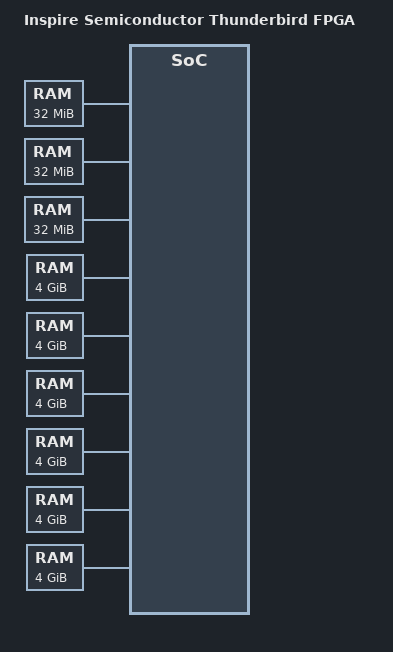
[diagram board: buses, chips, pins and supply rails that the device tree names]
/dts-v1/;

/ {
	#address-cells = <0x02>;
	#size-cells = <0x02>;
	compatible = "inspire,thunderbird-fpga", "inspire,thunderbird";
	model = "Inspire Semiconductor Thunderbird FPGA";

	aliases {
		serial0 = &usart0;
	};

 	chosen {
		bootargs = "debug console=ttyS0,3000000 earlycon=uart,mmio,0x70010100 rodata=off no5lvl root=ram";
		linux,initrd-start = <0x1100 0x08200000>;
		linux,initrd-end = <0x1100 0x132b35b6>;
		rng-seed = <0x4fe9397d 0xb7883060 0xe56ff3c2 0xb05b4e3 0x62e5479c 0xd932a9c8 0x95a47b5b 0x192ef245>;
		stdout-path = "serial0";
	};

	sram0: memory@0 {
		device_type = "memory";
		reg = <0x00000000 0x00000000 0x00000000 0x02000000>;
		numa-node-id = <1>;
	};

	sram2: memory@4000000 {
		device_type = "memory";
		reg = <0x00000000 0x04000000 0x00000000 0x02000000>;
		numa-node-id = <1>;
	};

	sram4: memory@8000000 {
		device_type = "memory";
		reg = <0x00000000 0x08000000 0x00000000 0x02000000>;
		numa-node-id = <1>;
	};

	ddrwt: memory@110000000000 {
		device_type = "memory";
		reg = <0x00001100 0x00000000 0x00000001 0x00000000>;
		numa-node-id = <0>;
	};

	ddrwm: memory@10110000000000 {
		device_type = "memory";
		reg = <0x00101100 0x00000000 0x00000001 0x00000000>;
		numa-node-id = <0>;
	};

	ddrwb: memory@20110000000000 {
		device_type = "memory";
		reg = <0x00201100 0x00000000 0x00000001 0x00000000>;
		numa-node-id = <0>;
	};

	ddret: memory@3910000000000 {
		device_type = "memory";
		reg = <0x00039100 0x00000000 0x00000001 0x00000000>;
		numa-node-id = <0>;
	};

	ddrem: memory@13910000000000 {
		device_type = "memory";
		reg = <0x00139100 0x00000000 0x00000001 0x00000000>;
		numa-node-id = <0>;
	};

	ddreb: memory@23910000000000 {
		device_type = "memory";
		reg = <0x00239100 0x00000000 0x00000001 0x00000000>;
		numa-node-id = <0>;
	};

	reserved-memory {
		#address-cells = <2>;
		#size-cells = <2>;
		ranges;

		ivshmem_shm: shm@8200000000000000 {
			compatible = "inspire,ivshmem-shm";
			reg = <0x00820000 0x00000000 0x00000000 0x00400000>;
			/* Optional heap offset for Zephyr to start k_heap */
			inspire,heap-offset = <0x00010000>;
			no-map;
		};
	};

	cpus {
		#address-cells = <0x01>;
		#size-cells = <0x00>;
		timebase-frequency = <500000000>;

		cpu0: cpu@0 {
			device_type = "cpu";
			reg-names = "cpuid", "sram", "corereg";
			reg = <0x0000 0x00000000 0x20000000>;
			status = "disabled";
			compatible = "inspiresemi,riscv-2464", "riscv";
			riscv,isa = "rv64imafdc";
			riscv,isa-base = "rv64i";
			riscv,isa-extensions = "i", "m", "a", "f", "d", "c", "zicsr", "zifencei" ;
			mmu-type = "riscv,sv48";
			numa-node-id = <1>;
			#address-cells = <0x02>;
			#size-cells = <0x02>;
			cpu0_intc: interrupt-controller {
				#interrupt-cells = <0x01>;
				interrupt-controller;
				status = "disabled";
				compatible = "riscv,cpu-intc";
			};
			clint0: clint@20004000 {
				interrupts-extended = <&cpu0_intc 0x03 &cpu0_intc 0x07>;
				reg-names = "irqs", "mtime", "mtimecmp";
				reg = <0x00 0x20004000 0x00 0x8 0x00 0x2000fff8 0x00 0x8 0x00 0x20008000 0x00 0x8>;
				status = "disabled";
				compatible = "riscv,aclint-mswi", "riscv,aclint-mtimer";
			};
		};
		cpu1: cpu@1 {
			device_type = "cpu";
			reg-names = "cpuid", "sram", "corereg";
			reg = <0x0001 0x00010000 0x20010000>;
			status = "disabled";
			compatible = "inspiresemi,riscv-2464", "riscv";
			riscv,isa = "rv64imafdc";
			riscv,isa-base = "rv64i";
			riscv,isa-extensions = "i", "m", "a", "f", "d", "c", "zicsr", "zifencei" ;
			mmu-type = "riscv,sv48";
			numa-node-id = <1>;
			#address-cells = <0x02>;
			#size-cells = <0x02>;
			cpu1_intc: interrupt-controller {
				#interrupt-cells = <0x01>;
				interrupt-controller;
				status = "disabled";
				compatible = "riscv,cpu-intc";
			};
			clint1: clint@20014000 {
				interrupts-extended = <&cpu1_intc 0x03 &cpu1_intc 0x07>;
				reg-names = "irqs", "mtime", "mtimecmp";
				reg = <0x00 0x20014000 0x00 0x8 0x00 0x2001fff8 0x00 0x8 0x00 0x20018000 0x00 0x8>;
				status = "disabled";
				compatible = "riscv,aclint-mswi", "riscv,aclint-mtimer";
			};
		};
		cpu2: cpu@2 {
			device_type = "cpu";
			reg-names = "cpuid", "sram", "corereg";
			reg = <0x0002 0x00020000 0x20020000>;
			status = "disabled";
			compatible = "inspiresemi,riscv-2464", "riscv";
			riscv,isa = "rv64imafdc";
			riscv,isa-base = "rv64i";
			riscv,isa-extensions = "i", "m", "a", "f", "d", "c", "zicsr", "zifencei" ;
			mmu-type = "riscv,sv48";
			numa-node-id = <1>;
			#address-cells = <0x02>;
			#size-cells = <0x02>;
			cpu2_intc: interrupt-controller {
				#interrupt-cells = <0x01>;
				interrupt-controller;
				status = "disabled";
				compatible = "riscv,cpu-intc";
			};
			clint2: clint@20024000 {
				interrupts-extended = <&cpu2_intc 0x03 &cpu2_intc 0x07>;
				reg-names = "irqs", "mtime", "mtimecmp";
				reg = <0x00 0x20024000 0x00 0x8 0x00 0x2002fff8 0x00 0x8 0x00 0x20028000 0x00 0x8>;
				status = "disabled";
				compatible = "riscv,aclint-mswi", "riscv,aclint-mtimer";
			};
		};
		cpu3: cpu@3 {
			device_type = "cpu";
			reg-names = "cpuid", "sram", "corereg";
			reg = <0x0003 0x00030000 0x20030000>;
			status = "disabled";
			compatible = "inspiresemi,riscv-2464", "riscv";
			riscv,isa = "rv64imafdc";
			riscv,isa-base = "rv64i";
			riscv,isa-extensions = "i", "m", "a", "f", "d", "c", "zicsr", "zifencei" ;
			mmu-type = "riscv,sv48";
			numa-node-id = <1>;
			#address-cells = <0x02>;
			#size-cells = <0x02>;
			cpu3_intc: interrupt-controller {
				#interrupt-cells = <0x01>;
				interrupt-controller;
				status = "disabled";
				compatible = "riscv,cpu-intc";
			};
			clint3: clint@20034000 {
				interrupts-extended = <&cpu3_intc 0x03 &cpu3_intc 0x07>;
				reg-names = "irqs", "mtime", "mtimecmp";
				reg = <0x00 0x20034000 0x00 0x8 0x00 0x2003fff8 0x00 0x8 0x00 0x20038000 0x00 0x8>;
				status = "disabled";
				compatible = "riscv,aclint-mswi", "riscv,aclint-mtimer";
			};
		};
		cpu4: cpu@4 {
			device_type = "cpu";
			reg-names = "cpuid", "sram", "corereg";
			reg = <0x0004 0x00040000 0x20040000>;
			status = "disabled";
			compatible = "inspiresemi,riscv-2464", "riscv";
			riscv,isa = "rv64imafdc";
			riscv,isa-base = "rv64i";
			riscv,isa-extensions = "i", "m", "a", "f", "d", "c", "zicsr", "zifencei";
			mmu-type = "riscv,sv48";
			numa-node-id = <1>;
			#address-cells = <0x02>;
			#size-cells = <0x02>;
			cpu4_intc: interrupt-controller {
				#interrupt-cells = <0x01>;
				interrupt-controller;
				status = "disabled";
				compatible = "riscv,cpu-intc";
			};
			clint4: clint@20044000 {
				interrupts-extended = <&cpu4_intc 0x03 &cpu4_intc 0x07>;
				reg-names = "irqs", "mtime", "mtimecmp";
				reg = <0x00 0x20044000 0x00 0x8 0x00 0x2004fff8 0x00 0x8 0x00 0x20048000 0x00 0x8>;
				status = "disabled";
				compatible = "riscv,aclint-mswi", "riscv,aclint-mtimer";
			};
		};
		cpu5: cpu@5 {
			device_type = "cpu";
			reg-names = "cpuid", "sram", "corereg";
			reg = <0x0005 0x00050000 0x20050000>;
			status = "disabled";
			compatible = "inspiresemi,riscv-2464", "riscv";
			riscv,isa = "rv64imafdc";
			riscv,isa-base = "rv64i";
			riscv,isa-extensions = "i", "m", "a", "f", "d", "c", "zicsr", "zifencei";
			mmu-type = "riscv,sv48";
			numa-node-id = <1>;
			#address-cells = <0x02>;
			#size-cells = <0x02>;
			cpu5_intc: interrupt-controller {
				#interrupt-cells = <0x01>;
				interrupt-controller;
				status = "disabled";
				compatible = "riscv,cpu-intc";
			};
			clint5: clint@20054000 {
				interrupts-extended = <&cpu5_intc 0x03 &cpu5_intc 0x07>;
				reg-names = "irqs", "mtime", "mtimecmp";
				reg = <0x00 0x20054000 0x00 0x8 0x00 0x2005fff8 0x00 0x8 0x00 0x20058000 0x00 0x8>;
				status = "disabled";
				compatible = "riscv,aclint-mswi", "riscv,aclint-mtimer";
			};
		};
		cpu6: cpu@6 {
			device_type = "cpu";
			reg-names = "cpuid", "sram", "corereg";
			reg = <0x0006 0x00060000 0x20060000>;
			status = "disabled";
			compatible = "inspiresemi,riscv-2464", "riscv";
			riscv,isa = "rv64imafdc";
			riscv,isa-base = "rv64i";
			riscv,isa-extensions = "i", "m", "a", "f", "d", "c", "zicsr", "zifencei";
			mmu-type = "riscv,sv48";
			numa-node-id = <1>;
			#address-cells = <0x02>;
			#size-cells = <0x02>;
			cpu6_intc: interrupt-controller {
				#interrupt-cells = <0x01>;
				interrupt-controller;
				status = "disabled";
				compatible = "riscv,cpu-intc";
			};
			clint6: clint@20064000 {
				interrupts-extended = <&cpu6_intc 0x03 &cpu6_intc 0x07>;
				reg-names = "irqs", "mtime", "mtimecmp";
				reg = <0x00 0x20064000 0x00 0x8 0x00 0x2006fff8 0x00 0x8 0x00 0x20068000 0x00 0x8>;
				status = "disabled";
				compatible = "riscv,aclint-mswi", "riscv,aclint-mtimer";
			};
		};
		cpu7: cpu@7 {
			device_type = "cpu";
			reg-names = "cpuid", "sram", "corereg";
			reg = <0x0007 0x00070000 0x20070000>;
			status = "disabled";
			compatible = "inspiresemi,riscv-2464", "riscv";
			riscv,isa = "rv64imafdc";
			riscv,isa-base = "rv64i";
			riscv,isa-extensions = "i", "m", "a", "f", "d", "c", "zicsr", "zifencei";
			mmu-type = "riscv,sv48";
			numa-node-id = <1>;
			#address-cells = <0x02>;
			#size-cells = <0x02>;
			cpu7_intc: interrupt-controller {
				#interrupt-cells = <0x01>;
				interrupt-controller;
				status = "disabled";
				compatible = "riscv,cpu-intc";
			};
			clint7: clint@20074000 {
				interrupts-extended = <&cpu7_intc 0x03 &cpu7_intc 0x07>;
				reg-names = "irqs", "mtime", "mtimecmp";
				reg = <0x00 0x20074000 0x00 0x8 0x00 0x2007fff8 0x00 0x8 0x00 0x20078000 0x00 0x8>;
				status = "disabled";
				compatible = "riscv,aclint-mswi", "riscv,aclint-mtimer";
			};
		};
		cpu8: cpu@8 {
			device_type = "cpu";
			reg-names = "cpuid", "sram", "corereg";
			reg = <0x0008 0x00080000 0x20080000>;
			status = "disabled";
			compatible = "inspiresemi,riscv-2464", "riscv";
			riscv,isa = "rv64imafdc";
			riscv,isa-base = "rv64i";
			riscv,isa-extensions = "i", "m", "a", "f", "d", "c", "zicsr", "zifencei";
			mmu-type = "riscv,sv48";
			numa-node-id = <1>;
			#address-cells = <0x02>;
			#size-cells = <0x02>;
			cpu8_intc: interrupt-controller {
				#interrupt-cells = <0x01>;
				interrupt-controller;
				status = "disabled";
				compatible = "riscv,cpu-intc";
			};
			clint8: clint@20084000 {
				interrupts-extended = <&cpu8_intc 0x03 &cpu8_intc 0x07>;
				reg-names = "irqs", "mtime", "mtimecmp";
				reg = <0x00 0x20084000 0x00 0x8 0x00 0x2008fff8 0x00 0x8 0x00 0x20088000 0x00 0x8>;
				status = "disabled";
				compatible = "riscv,aclint-mswi", "riscv,aclint-mtimer";
			};
		};
		cpu9: cpu@9 {
			device_type = "cpu";
			reg-names = "cpuid", "sram", "corereg";
			reg = <0x0009 0x00090000 0x20090000>;
			status = "disabled";
			compatible = "inspiresemi,riscv-2464", "riscv";
			riscv,isa = "rv64imafdc";
			riscv,isa-base = "rv64i";
			riscv,isa-extensions = "i", "m", "a", "f", "d", "c", "zicsr", "zifencei";
			mmu-type = "riscv,sv48";
			numa-node-id = <1>;
			#address-cells = <0x02>;
			#size-cells = <0x02>;
			cpu9_intc: interrupt-controller {
				#interrupt-cells = <0x01>;
				interrupt-controller;
				status = "disabled";
				compatible = "riscv,cpu-intc";
			};
			clint9: clint@20094000 {
				interrupts-extended = <&cpu9_intc 0x03 &cpu9_intc 0x07>;
				reg-names = "irqs", "mtime", "mtimecmp";
				reg = <0x00 0x20094000 0x00 0x8 0x00 0x2009fff8 0x00 0x8 0x00 0x20098000 0x00 0x8>;
				status = "disabled";
				compatible = "riscv,aclint-mswi", "riscv,aclint-mtimer";
			};
		};
		cpua: cpu@a {
			device_type = "cpu";
			reg-names = "cpuid", "sram", "corereg";
			reg = <0x000a 0x000a0000 0x200a0000>;
			status = "disabled";
			compatible = "inspiresemi,riscv-2464", "riscv";
			riscv,isa = "rv64imafdc";
			riscv,isa-base = "rv64i";
			riscv,isa-extensions = "i", "m", "a", "f", "d", "c", "zicsr", "zifencei";
			mmu-type = "riscv,sv48";
			numa-node-id = <1>;
			#address-cells = <0x02>;
			#size-cells = <0x02>;
			cpua_intc: interrupt-controller {
				#interrupt-cells = <0x01>;
				interrupt-controller;
				status = "disabled";
				compatible = "riscv,cpu-intc";
			};
			clinta: clint@200a4000 {
				interrupts-extended = <&cpua_intc 0x03 &cpua_intc 0x07>;
				reg-names = "irqs", "mtime", "mtimecmp";
				reg = <0x00 0x200a4000 0x00 0x8 0x00 0x200afff8 0x00 0x8 0x00 0x200a8000 0x00 0x8>;
				status = "disabled";
				compatible = "riscv,aclint-mswi", "riscv,aclint-mtimer";
			};
		};
		cpub: cpu@b {
			device_type = "cpu";
			reg-names = "cpuid", "sram", "corereg";
			reg = <0x000b 0x000b0000 0x200b0000>;
			status = "disabled";
			compatible = "inspiresemi,riscv-2464", "riscv";
			riscv,isa = "rv64imafdc";
			riscv,isa-base = "rv64i";
			riscv,isa-extensions = "i", "m", "a", "f", "d", "c", "zicsr", "zifencei";
			mmu-type = "riscv,sv48";
			numa-node-id = <1>;
			#address-cells = <0x02>;
			#size-cells = <0x02>;
			cpub_intc: interrupt-controller {
				#interrupt-cells = <0x01>;
				interrupt-controller;
				status = "disabled";
				compatible = "riscv,cpu-intc";
			};
			clintb: clint@200b4000 {
				interrupts-extended = <&cpub_intc 0x03 &cpub_intc 0x07>;
				reg-names = "irqs", "mtime", "mtimecmp";
				reg = <0x00 0x200b4000 0x00 0x8 0x00 0x200bfff8 0x00 0x8 0x00 0x200b8000 0x00 0x8>;
				status = "disabled";
				compatible = "riscv,aclint-mswi", "riscv,aclint-mtimer";
			};
		};
		cpuc: cpu@c {
			device_type = "cpu";
			reg-names = "cpuid", "sram", "corereg";
			reg = <0x000c 0x000c0000 0x200c0000>;
			status = "disabled";
			compatible = "inspiresemi,riscv-2464", "riscv";
			riscv,isa = "rv64imafdc";
			riscv,isa-base = "rv64i";
			riscv,isa-extensions = "i", "m", "a", "f", "d", "c", "zicsr", "zifencei";
			mmu-type = "riscv,sv48";
			numa-node-id = <1>;
			#address-cells = <0x02>;
			#size-cells = <0x02>;
			cpuc_intc: interrupt-controller {
				#interrupt-cells = <0x01>;
				interrupt-controller;
				status = "disabled";
				compatible = "riscv,cpu-intc";
			};
			clintc: clint@200c4000 {
				interrupts-extended = <&cpuc_intc 0x03 &cpuc_intc 0x07>;
				reg-names = "irqs", "mtime", "mtimecmp";
				reg = <0x00 0x200c4000 0x00 0x8 0x00 0x200cfff8 0x00 0x8 0x00 0x200c8000 0x00 0x8>;
				status = "disabled";
				compatible = "riscv,aclint-mswi", "riscv,aclint-mtimer";
			};
		};
		cpud: cpu@d {
			device_type = "cpu";
			reg-names = "cpuid", "sram", "corereg";
			reg = <0x000d 0x000d0000 0x200d0000>;
			status = "disabled";
			compatible = "inspiresemi,riscv-2464", "riscv";
			riscv,isa = "rv64imafdc";
			riscv,isa-base = "rv64i";
			riscv,isa-extensions = "i", "m", "a", "f", "d", "c", "zicsr", "zifencei";
			mmu-type = "riscv,sv48";
			numa-node-id = <1>;
			#address-cells = <0x02>;
			#size-cells = <0x02>;
			cpud_intc: interrupt-controller {
				#interrupt-cells = <0x01>;
				interrupt-controller;
				status = "disabled";
				compatible = "riscv,cpu-intc";
			};
			clintd: clint@200d4000 {
				interrupts-extended = <&cpud_intc 0x03 &cpud_intc 0x07>;
				reg-names = "irqs", "mtime", "mtimecmp";
				reg = <0x00 0x200d4000 0x00 0x8 0x00 0x200dfff8 0x00 0x8 0x00 0x200d8000 0x00 0x8>;
				status = "disabled";
				compatible = "riscv,aclint-mswi", "riscv,aclint-mtimer";
			};
		};
		cpue: cpu@e {
			device_type = "cpu";
			reg-names = "cpuid", "sram", "corereg";
			reg = <0x000e 0x000e0000 0x200e0000>;
			status = "disabled";
			compatible = "inspiresemi,riscv-2464", "riscv";
			riscv,isa = "rv64imafdc";
			riscv,isa-base = "rv64i";
			riscv,isa-extensions = "i", "m", "a", "f", "d", "c", "zicsr", "zifencei";
			mmu-type = "riscv,sv48";
			numa-node-id = <1>;
			#address-cells = <0x02>;
			#size-cells = <0x02>;
			cpue_intc: interrupt-controller {
				#interrupt-cells = <0x01>;
				interrupt-controller;
				status = "disabled";
				compatible = "riscv,cpu-intc";
			};
			clinte: clint@200e4000 {
				interrupts-extended = <&cpue_intc 0x03 &cpue_intc 0x07>;
				reg-names = "irqs", "mtime", "mtimecmp";
				reg = <0x00 0x200e4000 0x00 0x8 0x00 0x200efff8 0x00 0x8 0x00 0x200e8000 0x00 0x8>;
				status = "disabled";
				compatible = "riscv,aclint-mswi", "riscv,aclint-mtimer";
			};
		};
		cpuf: cpu@f {
			device_type = "cpu";
			reg-names = "cpuid", "sram", "corereg";
			reg = <0x000f 0x000f0000 0x200f0000>;
			status = "disabled";
			compatible = "inspiresemi,riscv-2464", "riscv";
			riscv,isa = "rv64imafdc";
			riscv,isa-base = "rv64i";
			riscv,isa-extensions = "i", "m", "a", "f", "d", "c", "zicsr", "zifencei";
			mmu-type = "riscv,sv48";
			numa-node-id = <1>;
			#address-cells = <0x02>;
			#size-cells = <0x02>;
			cpuf_intc: interrupt-controller {
				#interrupt-cells = <0x01>;
				interrupt-controller;
				status = "disabled";
				compatible = "riscv,cpu-intc";
			};
			clintf: clint@200f4000 {
				interrupts-extended = <&cpuf_intc 0x03 &cpuf_intc 0x07>;
				reg-names = "irqs", "mtime", "mtimecmp";
				reg = <0x00 0x200f4000 0x00 0x8 0x00 0x200ffff8 0x00 0x8 0x00 0x200f8000 0x00 0x8>;
				status = "disabled";
				compatible = "riscv,aclint-mswi", "riscv,aclint-mtimer";
			};
		};
		cpu10: cpu@10 {
			device_type = "cpu";
			reg-names = "cpuid", "sram", "corereg";
			reg = <0x0010 0x00100000 0x20100000>;
			status = "disabled";
			compatible = "inspiresemi,riscv-2464", "riscv";
			riscv,isa = "rv64imafdc";
			riscv,isa-base = "rv64i";
			riscv,isa-extensions = "i", "m", "a", "f", "d", "c", "zicsr", "zifencei";
			mmu-type = "riscv,sv48";
			numa-node-id = <1>;
			#address-cells = <0x02>;
			#size-cells = <0x02>;
			cpu10_intc: interrupt-controller {
				#interrupt-cells = <0x01>;
				interrupt-controller;
				status = "disabled";
				compatible = "riscv,cpu-intc";
			};
			clint10: clint@20104000 {
				interrupts-extended = <&cpu10_intc 0x03 &cpu10_intc 0x07>;
				reg-names = "irqs", "mtime", "mtimecmp";
				reg = <0x00 0x20104000 0x00 0x8 0x00 0x2010fff8 0x00 0x8 0x00 0x20108000 0x00 0x8>;
				status = "disabled";
				compatible = "riscv,aclint-mswi", "riscv,aclint-mtimer";
			};
		};
		cpu11: cpu@11 {
			device_type = "cpu";
			reg-names = "cpuid", "sram", "corereg";
			reg = <0x0011 0x00110000 0x20110000>;
			status = "disabled";
			compatible = "inspiresemi,riscv-2464", "riscv";
			riscv,isa = "rv64imafdc";
			riscv,isa-base = "rv64i";
			riscv,isa-extensions = "i", "m", "a", "f", "d", "c", "zicsr", "zifencei";
			mmu-type = "riscv,sv48";
			numa-node-id = <1>;
			#address-cells = <0x02>;
			#size-cells = <0x02>;
			cpu11_intc: interrupt-controller {
				#interrupt-cells = <0x01>;
				interrupt-controller;
				status = "disabled";
				compatible = "riscv,cpu-intc";
			};
			clint11: clint@20114000 {
				interrupts-extended = <&cpu11_intc 0x03 &cpu11_intc 0x07>;
				reg-names = "irqs", "mtime", "mtimecmp";
				reg = <0x00 0x20114000 0x00 0x8 0x00 0x2011fff8 0x00 0x8 0x00 0x20118000 0x00 0x8>;
				status = "disabled";
				compatible = "riscv,aclint-mswi", "riscv,aclint-mtimer";
			};
		};
		cpu12: cpu@12 {
			device_type = "cpu";
			reg-names = "cpuid", "sram", "corereg";
			reg = <0x0012 0x00120000 0x20120000>;
			status = "disabled";
			compatible = "inspiresemi,riscv-2464", "riscv";
			riscv,isa = "rv64imafdc";
			riscv,isa-base = "rv64i";
			riscv,isa-extensions = "i", "m", "a", "f", "d", "c", "zicsr", "zifencei";
			mmu-type = "riscv,sv48";
			numa-node-id = <1>;
			#address-cells = <0x02>;
			#size-cells = <0x02>;
			cpu12_intc: interrupt-controller {
				#interrupt-cells = <0x01>;
				interrupt-controller;
				status = "disabled";
				compatible = "riscv,cpu-intc";
			};
			clint12: clint@20124000 {
				interrupts-extended = <&cpu12_intc 0x03 &cpu12_intc 0x07>;
				reg-names = "irqs", "mtime", "mtimecmp";
				reg = <0x00 0x20124000 0x00 0x8 0x00 0x2012fff8 0x00 0x8 0x00 0x20128000 0x00 0x8>;
				status = "disabled";
				compatible = "riscv,aclint-mswi", "riscv,aclint-mtimer";
			};
		};
		cpu13: cpu@13 {
			device_type = "cpu";
			reg-names = "cpuid", "sram", "corereg";
			reg = <0x0013 0x00130000 0x20130000>;
			status = "disabled";
			compatible = "inspiresemi,riscv-2464", "riscv";
			riscv,isa = "rv64imafdc";
			riscv,isa-base = "rv64i";
			riscv,isa-extensions = "i", "m", "a", "f", "d", "c", "zicsr", "zifencei";
			mmu-type = "riscv,sv48";
			numa-node-id = <1>;
			#address-cells = <0x02>;
			#size-cells = <0x02>;
			cpu13_intc: interrupt-controller {
				#interrupt-cells = <0x01>;
				interrupt-controller;
				status = "disabled";
				compatible = "riscv,cpu-intc";
			};
			clint13: clint@20134000 {
				interrupts-extended = <&cpu13_intc 0x03 &cpu13_intc 0x07>;
				reg-names = "irqs", "mtime", "mtimecmp";
				reg = <0x00 0x20134000 0x00 0x8 0x00 0x2013fff8 0x00 0x8 0x00 0x20138000 0x00 0x8>;
				status = "disabled";
				compatible = "riscv,aclint-mswi", "riscv,aclint-mtimer";
			};
		};
		cpu14: cpu@14 {
			device_type = "cpu";
			reg-names = "cpuid", "sram", "corereg";
			reg = <0x0014 0x00140000 0x20140000>;
			status = "disabled";
			compatible = "inspiresemi,riscv-2464", "riscv";
			riscv,isa = "rv64imafdc";
			riscv,isa-base = "rv64i";
			riscv,isa-extensions = "i", "m", "a", "f", "d", "c", "zicsr", "zifencei";
			mmu-type = "riscv,sv48";
			numa-node-id = <1>;
			#address-cells = <0x02>;
			#size-cells = <0x02>;
			cpu14_intc: interrupt-controller {
				#interrupt-cells = <0x01>;
				interrupt-controller;
				status = "disabled";
				compatible = "riscv,cpu-intc";
			};
			clint14: clint@20144000 {
				interrupts-extended = <&cpu14_intc 0x03 &cpu14_intc 0x07>;
				reg-names = "irqs", "mtime", "mtimecmp";
				reg = <0x00 0x20144000 0x00 0x8 0x00 0x2014fff8 0x00 0x8 0x00 0x20148000 0x00 0x8>;
				status = "disabled";
				compatible = "riscv,aclint-mswi", "riscv,aclint-mtimer";
			};
		};
		cpu15: cpu@15 {
			device_type = "cpu";
			reg-names = "cpuid", "sram", "corereg";
			reg = <0x0015 0x00150000 0x20150000>;
			status = "disabled";
			compatible = "inspiresemi,riscv-2464", "riscv";
			riscv,isa = "rv64imafdc";
			riscv,isa-base = "rv64i";
			riscv,isa-extensions = "i", "m", "a", "f", "d", "c", "zicsr", "zifencei";
			mmu-type = "riscv,sv48";
			numa-node-id = <1>;
			#address-cells = <0x02>;
			#size-cells = <0x02>;
			cpu15_intc: interrupt-controller {
				#interrupt-cells = <0x01>;
				interrupt-controller;
				status = "disabled";
				compatible = "riscv,cpu-intc";
			};
			clint15: clint@20154000 {
				interrupts-extended = <&cpu15_intc 0x03 &cpu15_intc 0x07>;
				reg-names = "irqs", "mtime", "mtimecmp";
				reg = <0x00 0x20154000 0x00 0x8 0x00 0x2015fff8 0x00 0x8 0x00 0x20158000 0x00 0x8>;
				status = "disabled";
				compatible = "riscv,aclint-mswi", "riscv,aclint-mtimer";
			};
		};
		cpu16: cpu@16 {
			device_type = "cpu";
			reg-names = "cpuid", "sram", "corereg";
			reg = <0x0016 0x00160000 0x20160000>;
			status = "disabled";
			compatible = "inspiresemi,riscv-2464", "riscv";
			riscv,isa = "rv64imafdc";
			riscv,isa-base = "rv64i";
			riscv,isa-extensions = "i", "m", "a", "f", "d", "c", "zicsr", "zifencei";
			mmu-type = "riscv,sv48";
			numa-node-id = <1>;
			#address-cells = <0x02>;
			#size-cells = <0x02>;
			cpu16_intc: interrupt-controller {
				#interrupt-cells = <0x01>;
				interrupt-controller;
				status = "disabled";
				compatible = "riscv,cpu-intc";
			};
			clint16: clint@20164000 {
				interrupts-extended = <&cpu16_intc 0x03 &cpu16_intc 0x07>;
				reg-names = "irqs", "mtime", "mtimecmp";
				reg = <0x00 0x20164000 0x00 0x8 0x00 0x2016fff8 0x00 0x8 0x00 0x20168000 0x00 0x8>;
				status = "disabled";
				compatible = "riscv,aclint-mswi", "riscv,aclint-mtimer";
			};
		};
		cpu17: cpu@17 {
			device_type = "cpu";
			reg-names = "cpuid", "sram", "corereg";
			reg = <0x0017 0x00170000 0x20170000>;
			status = "disabled";
			compatible = "inspiresemi,riscv-2464", "riscv";
			riscv,isa = "rv64imafdc";
			riscv,isa-base = "rv64i";
			riscv,isa-extensions = "i", "m", "a", "f", "d", "c", "zicsr", "zifencei";
			mmu-type = "riscv,sv48";
			numa-node-id = <1>;
			#address-cells = <0x02>;
			#size-cells = <0x02>;
			cpu17_intc: interrupt-controller {
				#interrupt-cells = <0x01>;
				interrupt-controller;
				status = "disabled";
				compatible = "riscv,cpu-intc";
			};
			clint17: clint@20174000 {
				interrupts-extended = <&cpu17_intc 0x03 &cpu17_intc 0x07>;
				reg-names = "irqs", "mtime", "mtimecmp";
				reg = <0x00 0x20174000 0x00 0x8 0x00 0x2017fff8 0x00 0x8 0x00 0x20178000 0x00 0x8>;
				status = "disabled";
				compatible = "riscv,aclint-mswi", "riscv,aclint-mtimer";
			};
		};
		cpu18: cpu@18 {
			device_type = "cpu";
			reg-names = "cpuid", "sram", "corereg";
			reg = <0x0018 0x00180000 0x20180000>;
			status = "disabled";
			compatible = "inspiresemi,riscv-2464", "riscv";
			riscv,isa = "rv64imafdc";
			riscv,isa-base = "rv64i";
			riscv,isa-extensions = "i", "m", "a", "f", "d", "c", "zicsr", "zifencei";
			mmu-type = "riscv,sv48";
			numa-node-id = <1>;
			#address-cells = <0x02>;
			#size-cells = <0x02>;
			cpu18_intc: interrupt-controller {
				#interrupt-cells = <0x01>;
				interrupt-controller;
				status = "disabled";
				compatible = "riscv,cpu-intc";
			};
			clint18: clint@20184000 {
				interrupts-extended = <&cpu18_intc 0x03 &cpu18_intc 0x07>;
				reg-names = "irqs", "mtime", "mtimecmp";
				reg = <0x00 0x20184000 0x00 0x8 0x00 0x2018fff8 0x00 0x8 0x00 0x20188000 0x00 0x8>;
				status = "disabled";
				compatible = "riscv,aclint-mswi", "riscv,aclint-mtimer";
			};
		};
		cpu19: cpu@19 {
			device_type = "cpu";
			reg-names = "cpuid", "sram", "corereg";
			reg = <0x0019 0x00190000 0x20190000>;
			status = "disabled";
			compatible = "inspiresemi,riscv-2464", "riscv";
			riscv,isa = "rv64imafdc";
			riscv,isa-base = "rv64i";
			riscv,isa-extensions = "i", "m", "a", "f", "d", "c", "zicsr", "zifencei";
			mmu-type = "riscv,sv48";
			numa-node-id = <1>;
			#address-cells = <0x02>;
			#size-cells = <0x02>;
			cpu19_intc: interrupt-controller {
				#interrupt-cells = <0x01>;
				interrupt-controller;
				status = "disabled";
				compatible = "riscv,cpu-intc";
			};
			clint19: clint@20194000 {
				interrupts-extended = <&cpu19_intc 0x03 &cpu19_intc 0x07>;
				reg-names = "irqs", "mtime", "mtimecmp";
				reg = <0x00 0x20194000 0x00 0x8 0x00 0x2019fff8 0x00 0x8 0x00 0x20198000 0x00 0x8>;
				status = "disabled";
				compatible = "riscv,aclint-mswi", "riscv,aclint-mtimer";
			};
		};
		cpu1a: cpu@1a {
			device_type = "cpu";
			reg-names = "cpuid", "sram", "corereg";
			reg = <0x001a 0x001a0000 0x201a0000>;
			status = "disabled";
			compatible = "inspiresemi,riscv-2464", "riscv";
			riscv,isa = "rv64imafdc";
			riscv,isa-base = "rv64i";
			riscv,isa-extensions = "i", "m", "a", "f", "d", "c", "zicsr", "zifencei";
			mmu-type = "riscv,sv48";
			numa-node-id = <1>;
			#address-cells = <0x02>;
			#size-cells = <0x02>;
			cpu1a_intc: interrupt-controller {
				#interrupt-cells = <0x01>;
				interrupt-controller;
				status = "disabled";
				compatible = "riscv,cpu-intc";
			};
			clint1a: clint@201a4000 {
				interrupts-extended = <&cpu1a_intc 0x03 &cpu1a_intc 0x07>;
				reg-names = "irqs", "mtime", "mtimecmp";
				reg = <0x00 0x201a4000 0x00 0x8 0x00 0x201afff8 0x00 0x8 0x00 0x201a8000 0x00 0x8>;
				status = "disabled";
				compatible = "riscv,aclint-mswi", "riscv,aclint-mtimer";
			};
		};
		cpu1b: cpu@1b {
			device_type = "cpu";
			reg-names = "cpuid", "sram", "corereg";
			reg = <0x001b 0x001b0000 0x201b0000>;
			status = "disabled";
			compatible = "inspiresemi,riscv-2464", "riscv";
			riscv,isa = "rv64imafdc";
			riscv,isa-base = "rv64i";
			riscv,isa-extensions = "i", "m", "a", "f", "d", "c", "zicsr", "zifencei";
			mmu-type = "riscv,sv48";
			numa-node-id = <1>;
			#address-cells = <0x02>;
			#size-cells = <0x02>;
			cpu1b_intc: interrupt-controller {
				#interrupt-cells = <0x01>;
				interrupt-controller;
				status = "disabled";
				compatible = "riscv,cpu-intc";
			};
			clint1b: clint@201b4000 {
				interrupts-extended = <&cpu1b_intc 0x03 &cpu1b_intc 0x07>;
				reg-names = "irqs", "mtime", "mtimecmp";
				reg = <0x00 0x201b4000 0x00 0x8 0x00 0x201bfff8 0x00 0x8 0x00 0x201b8000 0x00 0x8>;
				status = "disabled";
				compatible = "riscv,aclint-mswi", "riscv,aclint-mtimer";
			};
		};
		cpu1c: cpu@1c {
			device_type = "cpu";
			reg-names = "cpuid", "sram", "corereg";
			reg = <0x001c 0x001c0000 0x201c0000>;
			status = "disabled";
			compatible = "inspiresemi,riscv-2464", "riscv";
			riscv,isa = "rv64imafdc";
			riscv,isa-base = "rv64i";
			riscv,isa-extensions = "i", "m", "a", "f", "d", "c", "zicsr", "zifencei";
			mmu-type = "riscv,sv48";
			numa-node-id = <1>;
			#address-cells = <0x02>;
			#size-cells = <0x02>;
			cpu1c_intc: interrupt-controller {
				#interrupt-cells = <0x01>;
				interrupt-controller;
				status = "disabled";
				compatible = "riscv,cpu-intc";
			};
			clint1c: clint@201c4000 {
				interrupts-extended = <&cpu1c_intc 0x03 &cpu1c_intc 0x07>;
				reg-names = "irqs", "mtime", "mtimecmp";
				reg = <0x00 0x201c4000 0x00 0x8 0x00 0x201cfff8 0x00 0x8 0x00 0x201c8000 0x00 0x8>;
				status = "disabled";
				compatible = "riscv,aclint-mswi", "riscv,aclint-mtimer";
			};
		};
		cpu1d: cpu@1d {
			device_type = "cpu";
			reg-names = "cpuid", "sram", "corereg";
			reg = <0x001d 0x001d0000 0x201d0000>;
			status = "disabled";
			compatible = "inspiresemi,riscv-2464", "riscv";
			riscv,isa = "rv64imafdc";
			riscv,isa-base = "rv64i";
			riscv,isa-extensions = "i", "m", "a", "f", "d", "c", "zicsr", "zifencei";
			mmu-type = "riscv,sv48";
			numa-node-id = <1>;
			#address-cells = <0x02>;
			#size-cells = <0x02>;
			cpu1d_intc: interrupt-controller {
				#interrupt-cells = <0x01>;
				interrupt-controller;
				status = "disabled";
				compatible = "riscv,cpu-intc";
			};
			clint1d: clint@201d4000 {
				interrupts-extended = <&cpu1d_intc 0x03 &cpu1d_intc 0x07>;
				reg-names = "irqs", "mtime", "mtimecmp";
				reg = <0x00 0x201d4000 0x00 0x8 0x00 0x201dfff8 0x00 0x8 0x00 0x201d8000 0x00 0x8>;
				status = "disabled";
				compatible = "riscv,aclint-mswi", "riscv,aclint-mtimer";
			};
		};
		cpu1e: cpu@1e {
			device_type = "cpu";
			reg-names = "cpuid", "sram", "corereg";
			reg = <0x001e 0x001e0000 0x201e0000>;
			status = "disabled";
			compatible = "inspiresemi,riscv-2464", "riscv";
			riscv,isa = "rv64imafdc";
			riscv,isa-base = "rv64i";
			riscv,isa-extensions = "i", "m", "a", "f", "d", "c", "zicsr", "zifencei";
			mmu-type = "riscv,sv48";
			numa-node-id = <1>;
			#address-cells = <0x02>;
			#size-cells = <0x02>;
			cpu1e_intc: interrupt-controller {
				#interrupt-cells = <0x01>;
				interrupt-controller;
				status = "disabled";
				compatible = "riscv,cpu-intc";
			};
			clint1e: clint@201e4000 {
				interrupts-extended = <&cpu1e_intc 0x03 &cpu1e_intc 0x07>;
				reg-names = "irqs", "mtime", "mtimecmp";
				reg = <0x00 0x201e4000 0x00 0x8 0x00 0x201efff8 0x00 0x8 0x00 0x201e8000 0x00 0x8>;
				status = "disabled";
				compatible = "riscv,aclint-mswi", "riscv,aclint-mtimer";
			};
		};
		cpu1f: cpu@1f {
			device_type = "cpu";
			reg-names = "cpuid", "sram", "corereg";
			reg = <0x001f 0x001f0000 0x201f0000>;
			status = "disabled";
			compatible = "inspiresemi,riscv-2464", "riscv";
			riscv,isa = "rv64imafdc";
			riscv,isa-base = "rv64i";
			riscv,isa-extensions = "i", "m", "a", "f", "d", "c", "zicsr", "zifencei";
			mmu-type = "riscv,sv48";
			numa-node-id = <1>;
			#address-cells = <0x02>;
			#size-cells = <0x02>;
			cpu1f_intc: interrupt-controller {
				#interrupt-cells = <0x01>;
				interrupt-controller;
				status = "disabled";
				compatible = "riscv,cpu-intc";
			};
			clint1f: clint@201f4000 {
				interrupts-extended = <&cpu1f_intc 0x03 &cpu1f_intc 0x07>;
				reg-names = "irqs", "mtime", "mtimecmp";
				reg = <0x00 0x201f4000 0x00 0x8 0x00 0x201ffff8 0x00 0x8 0x00 0x201f8000 0x00 0x8>;
				status = "disabled";
				compatible = "riscv,aclint-mswi", "riscv,aclint-mtimer";
			};
		};

		cpu-map {
			cluster0 {
				core0 {
					cpu = <&cpu0>;
				};
				core1 {
					cpu = <&cpu1>;
				};
				core2 {
					cpu = <&cpu2>;
				};
				core3 {
					cpu = <&cpu3>;
				};
				core4 {
					cpu = <&cpu4>;
				};
				core5 {
					cpu = <&cpu5>;
				};
				core6 {
					cpu = <&cpu6>;
				};
				core7 {
					cpu = <&cpu7>;
				};
				core8 {
					cpu = <&cpu8>;
				};
				core9 {
					cpu = <&cpu9>;
				};
				corea {
					cpu = <&cpua>;
				};
				coreb {
					cpu = <&cpub>;
				};
				corec {
					cpu = <&cpuc>;
				};
				cored {
					cpu = <&cpud>;
				};
				coree {
					cpu = <&cpue>;
				};
				coref {
					cpu = <&cpuf>;
				};
				core10 {
					cpu = <&cpu10>;
				};
				core11 {
					cpu = <&cpu11>;
				};
				core12 {
					cpu = <&cpu12>;
				};
				core13 {
					cpu = <&cpu13>;
				};
				core14 {
					cpu = <&cpu14>;
				};
				core15 {
					cpu = <&cpu15>;
				};
				core16 {
					cpu = <&cpu16>;
				};
				core17 {
					cpu = <&cpu17>;
				};
				core18 {
					cpu = <&cpu18>;
				};
				core19 {
					cpu = <&cpu19>;
				};
				core1a {
					cpu = <&cpu1a>;
				};
				core1b {
					cpu = <&cpu1b>;
				};
				core1c {
					cpu = <&cpu1c>;
				};
				core1d {
					cpu = <&cpu1d>;
				};
				core1e {
					cpu = <&cpu1e>;
				};
				core1f {
					cpu = <&cpu1f>;
				};
			};
		};
	};

	distance-map {
		compatible = "numa-distance-map-v1";
		distance-matrix = <0 0 10>, <0 1 50>, <1 0 50>, <1 1 10>;
	};

	soc {
		#address-cells = <0x02>;
		#size-cells = <0x02>;
		compatible = "simple-bus";
		ranges;

		dirq0: dirq-interrupt-controller {
			#interrupt-cells = <1>;
			compatible = "inspiresemi,dirq";
			status = "disabled";
			interrupt-controller;
			interrupts-extended = <&cpu0_intc 9>, <&cpu1_intc 9>,
									<&cpu2_intc 9>, <&cpu4_intc 9>,
									<&cpu6_intc 9>;
		};

		usart0: serial@70010100 {
			current-speed = <3000000>;
			clock-names = "usart_clk";
			clocks = <&usart_clk>;
			reg = <0x00 0x70010100 0x00 0x10>;
			reg-shift = <0>;
			status = "disabled";
			compatible = "ns16550a";
			interrupt-parent = <&dirq0>;
			interrupts = <0>;
		};

		usart1: serial@70010000 {
			current-speed = <3000000>;
			clock-names = "usart_clk";
			clocks = <&usart_clk>;
			reg = <0x00 0x70010000 0x00 0x10>;
			reg-shift = <0>;
			status = "disabled";
			compatible = "ns16550a";
			interrupt-parent = <&dirq0>;
			interrupts = <2>;
		};

		usart2: serial@27fe4000000000 {
			current-speed = <3000000>;
			clock-names = "usart_clk";
			clocks = <&usart_clk>;
			reg = <0x0027fe40 0x00 0x00 0x10>;
			reg-shift = <0>;
			status = "disabled";
			compatible = "ns16550a";
			interrupt-parent = <&dirq0>;
			interrupts = <3>;
		};

		usart3: serial@27fe4000000010 {
			current-speed = <3000000>;
			clock-names = "usart_clk";
			clocks = <&usart_clk>;
			reg = <0x0027fe40 0x10 0x00 0x10>;
			reg-shift = <0>;
			status = "disabled";
			compatible = "ns16550a";
			interrupt-parent = <&dirq0>;
			interrupts = <4>;
		};

		eth0: ethernet@808c0000000000 {
			#address-cells = <0x01>;
			#size-cells = <0x00>;
			compatible = "cdns,gem", "cdns,macb";
			status = "disabled";
			reg = <0x00808c00 0x00000000 0x00 0x1000>;
			interrupt-parent = <&dirq0>;
			interrupts = <1>;
			clocks = <&clk_bus>, <&clk_bus>;
			clock-names = "hclk", "pclk";
			/* Filled in by boot */
			mac-address = [ 52 54 00 12 35 02 ];
			numa-node-id = <0>;
			phy-mode = "gmii";
			ethphy0: ethernet-phy@0 {
				reg = <0>;
			};
		};
	};

	clocks {
		usart_clk: usart_clk {
			#clock-cells = <0>;
			compatible = "fixed-clock";
			clock-frequency = <100000000>;
			clock-accuracy = <1>;
		};
		clk_bus: clk_bus {
			#clock-cells = <0>;
			compatible = "fixed-clock";
			clock-frequency = <198000000>;
			clock-accuracy = <1>;
		};
	};
};
